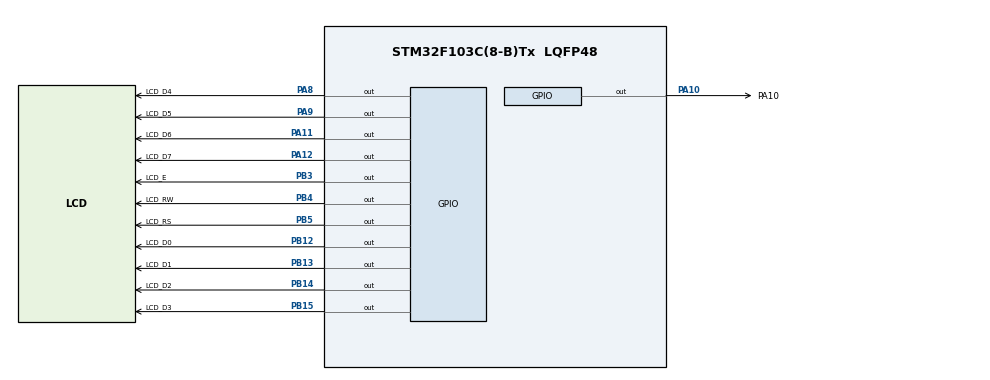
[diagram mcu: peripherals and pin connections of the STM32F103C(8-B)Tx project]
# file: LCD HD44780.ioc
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Mcu.Family=STM32F1
Mcu.Name=STM32F103C(8-B)Tx
Mcu.Package=LQFP48
NVIC.PriorityGroup=NVIC_PRIORITYGROUP_4
PA10.GPIO_Label=PA10
PA10.Signal=GPIO_Output
PA11.GPIO_Label=LCD_D6
PA11.Signal=GPIO_Output
PA12.GPIO_Label=LCD_D7
PA12.Signal=GPIO_Output
PA13.Mode=Serial_Wire
PA13.Signal=SYS_JTMS-SWDIO
PA14.Mode=Serial_Wire
PA14.Signal=SYS_JTCK-SWCLK
PA8.GPIO_Label=LCD_D4
PA8.Signal=GPIO_Output
PA9.GPIO_Label=LCD_D5
PA9.Signal=GPIO_Output
PB12.GPIO_Label=LCD_D0
PB12.Signal=GPIO_Output
PB13.GPIO_Label=LCD_D1
PB13.Signal=GPIO_Output
PB14.GPIO_Label=LCD_D2
PB14.Signal=GPIO_Output
PB15.GPIO_Label=LCD_D3
PB15.Signal=GPIO_Output
PB3.GPIO_Label=LCD_E
PB3.Signal=GPIO_Output
PB4.GPIO_Label=LCD_RW
PB4.Signal=GPIO_Output
PB5.GPIO_Label=LCD_RS
PB5.Signal=GPIO_Output
ProjectManager.HeapSize=0x200
ProjectManager.StackSize=0x400
ProjectManager.TargetToolchain=MDK-ARM V5.32
RCC.APB1Freq_Value=8000000
RCC.APB2Freq_Value=8000000
board=custom

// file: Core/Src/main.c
/* USER CODE BEGIN Header */
/**
  ******************************************************************************
  * @file           : main.c
  * @brief          : Main program body
  ******************************************************************************
  * @attention
  *
  * Copyright (c) 2024 STMicroelectronics.
  * All rights reserved.
  *
  * This software is licensed under terms that can be found in the LICENSE file
  * in the root directory of this software component.
  * If no LICENSE file comes with this software, it is provided AS-IS.
  *
  ******************************************************************************
  */
/* USER CODE END Header */
#include "main.h"

void SystemClock_Config(void);
static void MX_GPIO_Init(void);

int main(void)
{

  /* MCU Configuration--------------------------------------------------------*/

  /* Reset of all peripherals, Initializes the Flash interface and the Systick. */
  HAL_Init();

  /* Configure the system clock */
  SystemClock_Config();

  /* Initialize all configured peripherals */
  MX_GPIO_Init();

  /* Infinite loop */
  /* USER CODE BEGIN WHILE */
  while (1)
  {
		HAL_GPIO_WritePin(LCD_E_GPIO_Port, LCD_E_Pin, GPIO_PIN_SET);

		HAL_Delay(20);

		HAL_GPIO_WritePin(LCD_RS_GPIO_Port, LCD_RS_Pin, GPIO_PIN_RESET);
		HAL_GPIO_WritePin(LCD_RW_GPIO_Port, LCD_RW_Pin, GPIO_PIN_RESET);
		HAL_GPIO_WritePin(LCD_D7_GPIO_Port, LCD_D7_Pin, GPIO_PIN_RESET);
		HAL_GPIO_WritePin(LCD_D6_GPIO_Port, LCD_D6_Pin, GPIO_PIN_RESET);
		HAL_GPIO_WritePin(LCD_D5_GPIO_Port, LCD_D5_Pin, GPIO_PIN_SET);
		HAL_GPIO_WritePin(LCD_D4_GPIO_Port, LCD_D4_Pin, GPIO_PIN_SET);
		HAL_GPIO_WritePin(LCD_E_GPIO_Port, LCD_E_Pin, GPIO_PIN_RESET);
		HAL_GPIO_WritePin(LCD_E_GPIO_Port, LCD_E_Pin, GPIO_PIN_SET);
		HAL_Delay(20);

		HAL_GPIO_WritePin(LCD_RS_GPIO_Port, LCD_RS_Pin, GPIO_PIN_RESET);
		HAL_GPIO_WritePin(LCD_RW_GPIO_Port, LCD_RW_Pin, GPIO_PIN_RESET);
		HAL_GPIO_WritePin(LCD_D7_GPIO_Port, LCD_D7_Pin, GPIO_PIN_RESET);
		HAL_GPIO_WritePin(LCD_D6_GPIO_Port, LCD_D6_Pin, GPIO_PIN_RESET);
		HAL_GPIO_WritePin(LCD_D5_GPIO_Port, LCD_D5_Pin, GPIO_PIN_SET);
		HAL_GPIO_WritePin(LCD_D4_GPIO_Port, LCD_D4_Pin, GPIO_PIN_SET);
		HAL_GPIO_WritePin(LCD_E_GPIO_Port, LCD_E_Pin, GPIO_PIN_RESET);
		HAL_GPIO_WritePin(LCD_E_GPIO_Port, LCD_E_Pin, GPIO_PIN_SET);
		HAL_Delay(20);

		HAL_GPIO_WritePin(LCD_RS_GPIO_Port, LCD_RS_Pin, GPIO_PIN_RESET);
		HAL_GPIO_WritePin(LCD_RW_GPIO_Port, LCD_RW_Pin, GPIO_PIN_RESET);
		HAL_GPIO_WritePin(LCD_D7_GPIO_Port, LCD_D7_Pin, GPIO_PIN_RESET);
		HAL_GPIO_WritePin(LCD_D6_GPIO_Port, LCD_D6_Pin, GPIO_PIN_RESET);
		HAL_GPIO_WritePin(LCD_D5_GPIO_Port, LCD_D5_Pin, GPIO_PIN_SET);
		HAL_GPIO_WritePin(LCD_D4_GPIO_Port, LCD_D4_Pin, GPIO_PIN_SET);
		HAL_GPIO_WritePin(LCD_E_GPIO_Port, LCD_E_Pin, GPIO_PIN_RESET);
		HAL_GPIO_WritePin(LCD_E_GPIO_Port, LCD_E_Pin, GPIO_PIN_SET);
		HAL_Delay(20);

		HAL_GPIO_WritePin(LCD_RS_GPIO_Port, LCD_RS_Pin, GPIO_PIN_RESET);
		HAL_GPIO_WritePin(LCD_RW_GPIO_Port, LCD_RW_Pin, GPIO_PIN_RESET);
		HAL_GPIO_WritePin(LCD_D7_GPIO_Port, LCD_D7_Pin, GPIO_PIN_RESET);
		HAL_GPIO_WritePin(LCD_D6_GPIO_Port, LCD_D6_Pin, GPIO_PIN_RESET);
		HAL_GPIO_WritePin(LCD_D5_GPIO_Port, LCD_D5_Pin, GPIO_PIN_SET);
		HAL_GPIO_WritePin(LCD_D4_GPIO_Port, LCD_D4_Pin, GPIO_PIN_SET);
		HAL_GPIO_WritePin(LCD_D3_GPIO_Port, LCD_D3_Pin, GPIO_PIN_SET);
		HAL_GPIO_WritePin(LCD_D2_GPIO_Port, LCD_D2_Pin, GPIO_PIN_SET);
		HAL_GPIO_WritePin(LCD_E_GPIO_Port, LCD_E_Pin, GPIO_PIN_RESET);
		HAL_GPIO_WritePin(LCD_E_GPIO_Port, LCD_E_Pin, GPIO_PIN_SET);
		HAL_Delay(20);

		HAL_GPIO_WritePin(LCD_RS_GPIO_Port, LCD_RS_Pin, GPIO_PIN_RESET);
		HAL_GPIO_WritePin(LCD_RW_GPIO_Port, LCD_RW_Pin, GPIO_PIN_RESET);
		HAL_GPIO_WritePin(LCD_D7_GPIO_Port, LCD_D7_Pin, GPIO_PIN_RESET);
		HAL_GPIO_WritePin(LCD_D6_GPIO_Port, LCD_D6_Pin, GPIO_PIN_RESET);
		HAL_GPIO_WritePin(LCD_D5_GPIO_Port, LCD_D5_Pin, GPIO_PIN_RESET);
		HAL_GPIO_WritePin(LCD_D4_GPIO_Port, LCD_D4_Pin, GPIO_PIN_RESET);
		HAL_GPIO_WritePin(LCD_D3_GPIO_Port, LCD_D3_Pin, GPIO_PIN_SET);
		HAL_GPIO_WritePin(LCD_D2_GPIO_Port, LCD_D2_Pin, GPIO_PIN_RESET);
		HAL_GPIO_WritePin(LCD_D1_GPIO_Port, LCD_D1_Pin, GPIO_PIN_RESET);
		HAL_GPIO_WritePin(LCD_D0_GPIO_Port, LCD_D0_Pin, GPIO_PIN_RESET);
		HAL_GPIO_WritePin(LCD_E_GPIO_Port, LCD_E_Pin, GPIO_PIN_RESET);
		HAL_GPIO_WritePin(LCD_E_GPIO_Port, LCD_E_Pin, GPIO_PIN_SET);
		HAL_Delay(20);

		HAL_GPIO_WritePin(LCD_RS_GPIO_Port, LCD_RS_Pin, GPIO_PIN_RESET);
		HAL_GPIO_WritePin(LCD_RW_GPIO_Port, LCD_RW_Pin, GPIO_PIN_RESET);
		HAL_GPIO_WritePin(LCD_D7_GPIO_Port, LCD_D7_Pin, GPIO_PIN_RESET);
		HAL_GPIO_WritePin(LCD_D6_GPIO_Port, LCD_D6_Pin, GPIO_PIN_RESET);
		HAL_GPIO_WritePin(LCD_D5_GPIO_Port, LCD_D5_Pin, GPIO_PIN_RESET);
		HAL_GPIO_WritePin(LCD_D4_GPIO_Port, LCD_D4_Pin, GPIO_PIN_RESET);
		HAL_GPIO_WritePin(LCD_D3_GPIO_Port, LCD_D3_Pin, GPIO_PIN_RESET);
		HAL_GPIO_WritePin(LCD_D2_GPIO_Port, LCD_D2_Pin, GPIO_PIN_RESET);
		HAL_GPIO_WritePin(LCD_D1_GPIO_Port, LCD_D1_Pin, GPIO_PIN_RESET);
		HAL_GPIO_WritePin(LCD_D0_GPIO_Port, LCD_D0_Pin, GPIO_PIN_SET);
		HAL_GPIO_WritePin(LCD_E_GPIO_Port, LCD_E_Pin, GPIO_PIN_RESET);
		HAL_GPIO_WritePin(LCD_E_GPIO_Port, LCD_E_Pin, GPIO_PIN_SET);
		HAL_Delay(20);

		HAL_GPIO_WritePin(LCD_RS_GPIO_Port, LCD_RS_Pin, GPIO_PIN_RESET);
		HAL_GPIO_WritePin(LCD_RW_GPIO_Port, LCD_RW_Pin, GPIO_PIN_RESET);
		HAL_GPIO_WritePin(LCD_D7_GPIO_Port, LCD_D7_Pin, GPIO_PIN_RESET);
		HAL_GPIO_WritePin(LCD_D6_GPIO_Port, LCD_D6_Pin, GPIO_PIN_RESET);
		HAL_GPIO_WritePin(LCD_D5_GPIO_Port, LCD_D5_Pin, GPIO_PIN_RESET);
		HAL_GPIO_WritePin(LCD_D4_GPIO_Port, LCD_D4_Pin, GPIO_PIN_RESET);
		HAL_GPIO_WritePin(LCD_D3_GPIO_Port, LCD_D3_Pin, GPIO_PIN_RESET);
		HAL_GPIO_WritePin(LCD_D2_GPIO_Port, LCD_D2_Pin, GPIO_PIN_SET);
		HAL_GPIO_WritePin(LCD_D1_GPIO_Port, LCD_D1_Pin, GPIO_PIN_SET);
		HAL_GPIO_WritePin(LCD_D0_GPIO_Port, LCD_D0_Pin, GPIO_PIN_RESET);
		HAL_GPIO_WritePin(LCD_E_GPIO_Port, LCD_E_Pin, GPIO_PIN_RESET);
		HAL_GPIO_WritePin(LCD_E_GPIO_Port, LCD_E_Pin, GPIO_PIN_SET);
		HAL_Delay(20);

		HAL_GPIO_WritePin(LCD_D3_GPIO_Port, LCD_D3_Pin, GPIO_PIN_SET);

		HAL_GPIO_WritePin(LCD_D0_GPIO_Port, LCD_D0_Pin, GPIO_PIN_SET);
		HAL_GPIO_WritePin(LCD_E_GPIO_Port, LCD_E_Pin, GPIO_PIN_RESET);
		HAL_GPIO_WritePin(LCD_E_GPIO_Port, LCD_E_Pin, GPIO_PIN_SET);
		HAL_Delay(20);
    /* USER CODE END WHILE */
  }
}

void SystemClock_Config(void)
{
  RCC_OscInitTypeDef RCC_OscInitStruct = {0};
  RCC_ClkInitTypeDef RCC_ClkInitStruct = {0};

  /** Initializes the RCC Oscillators according to the specified parameters
  * in the RCC_OscInitTypeDef structure.
  */
  RCC_OscInitStruct.OscillatorType = RCC_OSCILLATORTYPE_HSI;
  RCC_OscInitStruct.HSIState = RCC_HSI_ON;
  RCC_OscInitStruct.HSICalibrationValue = RCC_HSICALIBRATION_DEFAULT;
  RCC_OscInitStruct.PLL.PLLState = RCC_PLL_NONE;
  if (HAL_RCC_OscConfig(&RCC_OscInitStruct) != HAL_OK)
  {
    Error_Handler();
  }

  /** Initializes the CPU, AHB and APB buses clocks
  */
  RCC_ClkInitStruct.ClockType = RCC_CLOCKTYPE_HCLK|RCC_CLOCKTYPE_SYSCLK
                              |RCC_CLOCKTYPE_PCLK1|RCC_CLOCKTYPE_PCLK2;
  RCC_ClkInitStruct.SYSCLKSource = RCC_SYSCLKSOURCE_HSI;
  RCC_ClkInitStruct.AHBCLKDivider = RCC_SYSCLK_DIV1;
  RCC_ClkInitStruct.APB1CLKDivider = RCC_HCLK_DIV1;
  RCC_ClkInitStruct.APB2CLKDivider = RCC_HCLK_DIV1;

  if (HAL_RCC_ClockConfig(&RCC_ClkInitStruct, FLASH_LATENCY_0) != HAL_OK)
  {
    Error_Handler();
  }
}

static void MX_GPIO_Init(void)
{
  GPIO_InitTypeDef GPIO_InitStruct = {0};

  /* GPIO Ports Clock Enable */
  __HAL_RCC_GPIOB_CLK_ENABLE();
  __HAL_RCC_GPIOA_CLK_ENABLE();

  /*Configure GPIO pin Output Level */
  HAL_GPIO_WritePin(GPIOB, LCD_D0_Pin|LCD_D1_Pin|LCD_D2_Pin|LCD_D3_Pin
                          |LCD_E_Pin|LCD_RW_Pin|LCD_RS_Pin, GPIO_PIN_RESET);

  /*Configure GPIO pin Output Level */
  HAL_GPIO_WritePin(GPIOA, LCD_D4_Pin|LCD_D5_Pin|PA10_Pin|LCD_D6_Pin
                          |LCD_D7_Pin, GPIO_PIN_RESET);

  /*Configure GPIO pins : LCD_D0_Pin LCD_D1_Pin LCD_D2_Pin LCD_D3_Pin
                           LCD_E_Pin LCD_RW_Pin LCD_RS_Pin */
  GPIO_InitStruct.Pin = LCD_D0_Pin|LCD_D1_Pin|LCD_D2_Pin|LCD_D3_Pin
                          |LCD_E_Pin|LCD_RW_Pin|LCD_RS_Pin;
  GPIO_InitStruct.Mode = GPIO_MODE_OUTPUT_PP;
  GPIO_InitStruct.Pull = GPIO_NOPULL;
  GPIO_InitStruct.Speed = GPIO_SPEED_FREQ_LOW;
  HAL_GPIO_Init(GPIOB, &GPIO_InitStruct);

  /*Configure GPIO pins : LCD_D4_Pin LCD_D5_Pin PA10_Pin LCD_D6_Pin
                           LCD_D7_Pin */
  GPIO_InitStruct.Pin = LCD_D4_Pin|LCD_D5_Pin|PA10_Pin|LCD_D6_Pin
                          |LCD_D7_Pin;
  GPIO_InitStruct.Mode = GPIO_MODE_OUTPUT_PP;
  GPIO_InitStruct.Pull = GPIO_NOPULL;
  GPIO_InitStruct.Speed = GPIO_SPEED_FREQ_LOW;
  HAL_GPIO_Init(GPIOA, &GPIO_InitStruct);

}

void Error_Handler(void)
{
  __disable_irq();
  while (1)
  {
  }
}
